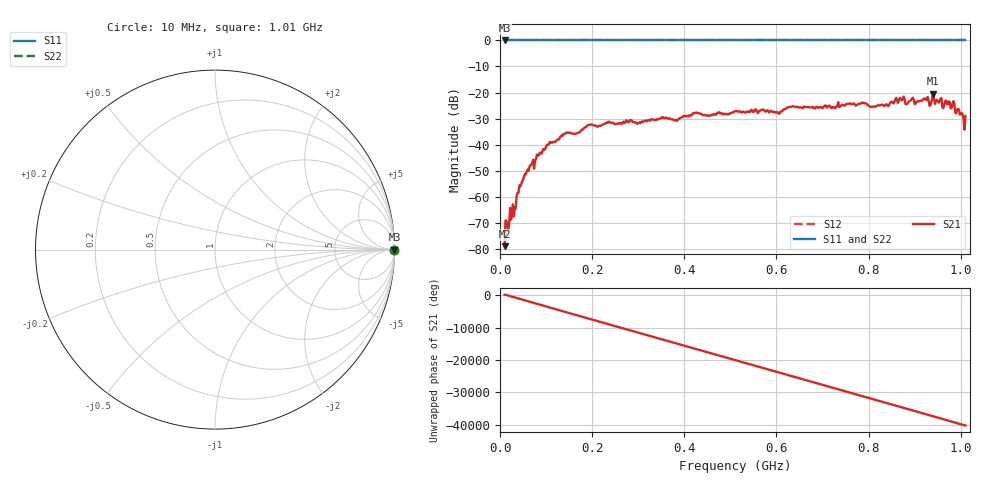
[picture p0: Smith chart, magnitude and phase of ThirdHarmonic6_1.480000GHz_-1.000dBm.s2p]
! 8/16/2025 5:17:53 PM
! C:\ANRITSUVNA\TEMP\TEMP.S2P
! CHANNEL.1
! TR.MEASUREMENT
! RAW.DATA
! RF.CORRECTION.OFF
! AVERAGING.OFF
! IF.BANDWIDTH: 5KHZ
! SWEEPTYPE:  FREQ.SWEEP(Linear)
! Reference Plane Port Info
! PORT:  PORT1  PORT2
! DISTANCE:  0  m  0  m
! TIME:  0  s  0  s
! PHASE.OFFSET:  0  deg.  0  deg.
! LOSS:  0  dB  0  dB
! REF.LOSS:  0  dB  0  dB
! REF.FREQ:  0  Hz  0  Hz
! Power Info
! POWER:  -20  dBm  -20  dBm
! EFF.POWER:  -20  dBm  -20  dBm
! SOURCE.ATTEN:  0  dB  0  dB
! TEST.ATTEN:  0  dB  0  dB
# GHZ S RI R 50.0
! FREQ.GHZ  S11RE  S11IM  S21RE  S21IM  S12RE  S12IM  S22RE  S22IM
!; PortSelection: Port_12
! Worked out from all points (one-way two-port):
!   501 points, 10 MHz to 1.01 GHz, reference 50 ohm
!   highest |S21| = -20.46 dB at 940 MHz (marker M1); lowest = -79.0 dB at 10 MHz (marker M2)
!   lowest |S11| = 0.0 dB at 10 MHz (marker M3)
!   |S11| at or under -10 dB: nowhere
!   |S22| runs from 0.0 to 0.0 dB; largest |S21 - S12| = 1.1
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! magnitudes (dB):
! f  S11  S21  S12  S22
! 10 MHz  0.0  -79.0  0.0  0.0
! 16 MHz  0.0  -70.8  0.0  0.0
! 30 MHz  0.0  -67.6  0.0  0.0
! 40 MHz  0.0  -58.6  0.0  0.0
! 68 MHz  0.0  -47.7  0.0  0.0
! 106 MHz  0.0  -39.9  0.0  0.0
! 142 MHz  0.0  -35.8  0.0  0.0
! 178 MHz  0.0  -34.2  0.0  0.0
! 194 MHz  0.0  -32.4  0.0  0.0
! 344 MHz  0.0  -30.3  0.0  0.0
! 510 MHz  0.0  -27.2  0.0  0.0
! 602 MHz  0.0  -27.5  0.0  0.0
! 632 MHz  0.0  -25.5  0.0  0.0
! 678 MHz  0.0  -25.8  0.0  0.0
! 844 MHz  0.0  -24.9  0.0  0.0
! 872 MHz  0.0  -23.0  0.0  0.0
! 884 MHz  0.0  -24.3  0.0  0.0
! 894 MHz  0.0  -22.3  0.0  0.0
! 904 MHz  0.0  -23.5  0.0  0.0
! 940 MHz  0.0  -20.5  0.0  0.0
! 982 MHz  0.0  -24.2  0.0  0.0
! 1.01 GHz  0.0  -29.0  0.0  0.0
